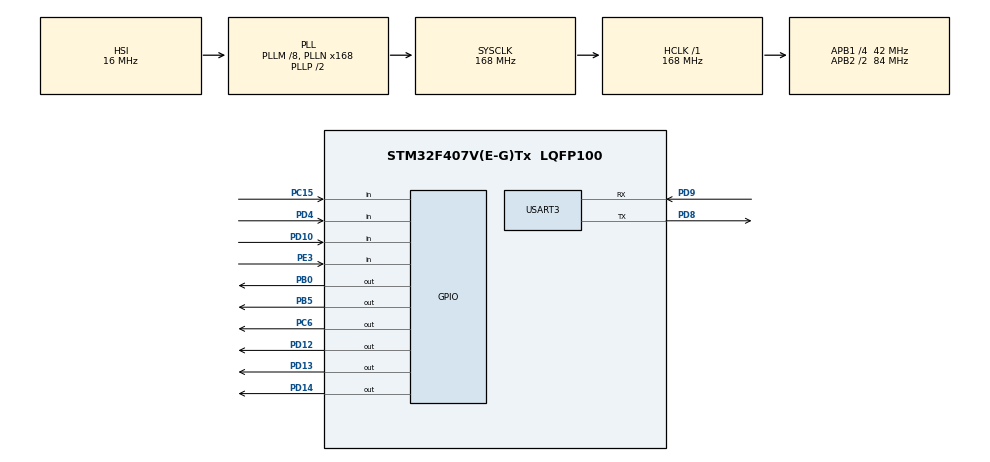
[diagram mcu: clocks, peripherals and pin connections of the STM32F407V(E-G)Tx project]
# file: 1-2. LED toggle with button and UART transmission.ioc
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Mcu.Family=STM32F4
Mcu.Name=STM32F407V(E-G)Tx
Mcu.Package=LQFP100
NVIC.PriorityGroup=NVIC_PRIORITYGROUP_4
NVIC.USART3_IRQn=true\:0\:0\:false\:true\:true\:1\:true\:true\:true
PB0.Signal=GPIO_Output
PB5.Signal=GPIO_Output
PC15-OSC32_OUT.Signal=GPIO_Input
PC6.Signal=GPIO_Output
PD10.Signal=GPIO_Input
PD12.Signal=GPIO_Output
PD13.Signal=GPIO_Output
PD14.Signal=GPIO_Output
PD4.Signal=GPIO_Input
PD8.Mode=Asynchronous
PD8.Signal=USART3_TX
PD9.Mode=Asynchronous
PD9.Signal=USART3_RX
PE3.Signal=GPIO_Input
PH0-OSC_IN.Mode=HSE-External-Oscillator
PH0-OSC_IN.Signal=RCC_OSC_IN
PH1-OSC_OUT.Mode=HSE-External-Oscillator
PH1-OSC_OUT.Signal=RCC_OSC_OUT
ProjectManager.HeapSize=0x200
ProjectManager.StackSize=0x400
ProjectManager.TargetToolchain=STM32CubeIDE
RCC.48MHZClocksFreq_Value=84000000
RCC.AHBFreq_Value=168000000
RCC.APB1CLKDivider=RCC_HCLK_DIV4
RCC.APB1Freq_Value=42000000
RCC.APB1TimFreq_Value=84000000
RCC.APB2CLKDivider=RCC_HCLK_DIV2
RCC.APB2Freq_Value=84000000
RCC.APB2TimFreq_Value=168000000
RCC.CortexFreq_Value=168000000
RCC.HCLKFreq_Value=168000000
RCC.HSE_VALUE=8000000
RCC.HSI_VALUE=16000000
RCC.LSE_VALUE=32768
RCC.PLLM=8
RCC.PLLN=168
RCC.SYSCLKFreq_VALUE=168000000
RCC.SYSCLKSource=RCC_SYSCLKSOURCE_PLLCLK
RCC.VCOOutputFreq_Value=336000000
USART3.VirtualMode=VM_ASYNC
board=custom

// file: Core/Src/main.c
/* USER CODE BEGIN Header */
/**
  ******************************************************************************
  * @file           : main.c
  * @brief          : Main program body
  ******************************************************************************
  * @attention
  *
  * Copyright (c) 2024 STMicroelectronics.
  * All rights reserved.
  *
  * This software is licensed under terms that can be found in the LICENSE file
  * in the root directory of this software component.
  * If no LICENSE file comes with this software, it is provided AS-IS.
  *
  ******************************************************************************
  */
/* USER CODE END Header */
#include "main.h"
#include "usart.h"
#include "gpio.h"

/* USER CODE BEGIN Includes */
#include "easyMacros.h"
/* USER CODE END Includes */

/* USER CODE BEGIN PD */
#define TRUE 1
#define FALSE 0
/* USER CODE END PD */

/* USER CODE BEGIN PV */
int SW1_pressed = FALSE;
int SW2_pressed = FALSE;
int SW3_pressed = FALSE;
int SW4_pressed = FALSE;
int select_left_LED = TRUE;
uint8_t uart3_rx_data = 0;
uint8_t uart3_rx_flag = 0;
/* USER CODE END PV */

void SystemClock_Config(void);
static void MX_NVIC_Init(void);

int main(void)
{

  /* MCU Configuration--------------------------------------------------------*/

  /* Reset of all peripherals, Initializes the Flash interface and the Systick. */
  HAL_Init();

  /* Configure the system clock */
  SystemClock_Config();

  /* Initialize all configured peripherals */
  MX_GPIO_Init();
  MX_USART3_UART_Init();

  /* Initialize interrupts */
  MX_NVIC_Init();
  /* USER CODE BEGIN 2 */
  HAL_UART_Receive_IT(&huart3, &uart3_rx_data, sizeof(uart3_rx_data));

  L_RED_LED_OFF();
  L_GREEN_LED_OFF();
  L_BLUE_LED_OFF();
  R_RED_LED_OFF();
  R_GREEN_LED_OFF();
  R_BLUE_LED_OFF();
  /* USER CODE END 2 */

  /* Infinite loop */
  while (1)
  {

    /* USER CODE BEGIN 3 */

    /*
     * BUTTON 방식
     * red, green, blue LED 전부 같은 방식으로 동작한다.
     */
	if(SW1_pressed != CHECK_SW1_PRESSING()) // Rising Edge, Falling Edge를 검출
	{
		SW1_pressed = !SW1_pressed; // 버튼의 현재 상태 검출
		if(SW1_pressed) // 버튼이 눌러져있는 것으로 Rising Edge만 검출
		{
			if(select_left_LED) L_RED_LED_TOGGLE(); // 왼쪽 LED가 선택되어 있으면 왼쪽 LED를 토글
			else R_RED_LED_TOGGLE(); // 반대의 경우 오른쪽 LED를 토글
		}
	}

	if(SW2_pressed != CHECK_SW2_PRESSING())
	{
		SW2_pressed = !SW2_pressed;
		if(SW2_pressed)
		{
			if(select_left_LED) L_GREEN_LED_TOGGLE();
			else R_GREEN_LED_TOGGLE();
		}
	}

	if(SW3_pressed != CHECK_SW3_PRESSING())
	{
		SW3_pressed = !SW3_pressed;
		if(SW3_pressed)
		{
			if(select_left_LED) L_BLUE_LED_TOGGLE();
			else R_BLUE_LED_TOGGLE();
		}
	}

	if(SW4_pressed != CHECK_SW4_PRESSING()) // Rising Edge, Falling Edge 검출
	{
		SW4_pressed = !SW4_pressed; // 버튼의 현재 상태 검출
		if(SW4_pressed) select_left_LED = !select_left_LED; // 버튼의 현재 상태로 Rising Edge만 검출. LED 선택 방태를 바꾼다.
	}

	/*
	 * UART Interrupt 방식
	 * red, green, blue LED 전부 같은 방식으로 동작한다.
	 */
	if(uart3_rx_flag) // UART3으로 데이터를 받아서 flag가 1이 되면
	{
		uart3_rx_flag = 0; // flag를 0으로 해준 후
		switch(uart3_rx_data) { // 받아온 데이터로 각각의 동작을 수행한다. 1~3은 red, green, blue LED toggle이고, 4는 LED 선택이다.
			case '1':
				if(select_left_LED) L_RED_LED_TOGGLE();
				else R_RED_LED_TOGGLE();
				break;
			case '2':
				if(select_left_LED) L_GREEN_LED_TOGGLE();
				else R_GREEN_LED_TOGGLE();
				break;
			case '3':
				if(select_left_LED) L_BLUE_LED_TOGGLE();
				else R_BLUE_LED_TOGGLE();
				break;
			case '4':
				select_left_LED = !select_left_LED;
		}
	}
  }
  /* USER CODE END 3 */
}

void SystemClock_Config(void)
{
  RCC_OscInitTypeDef RCC_OscInitStruct = {0};
  RCC_ClkInitTypeDef RCC_ClkInitStruct = {0};

  /** Configure the main internal regulator output voltage
  */
  __HAL_RCC_PWR_CLK_ENABLE();
  __HAL_PWR_VOLTAGESCALING_CONFIG(PWR_REGULATOR_VOLTAGE_SCALE1);

  /** Initializes the RCC Oscillators according to the specified parameters
  * in the RCC_OscInitTypeDef structure.
  */
  RCC_OscInitStruct.OscillatorType = RCC_OSCILLATORTYPE_HSI;
  RCC_OscInitStruct.HSIState = RCC_HSI_ON;
  RCC_OscInitStruct.HSICalibrationValue = RCC_HSICALIBRATION_DEFAULT;
  RCC_OscInitStruct.PLL.PLLState = RCC_PLL_ON;
  RCC_OscInitStruct.PLL.PLLSource = RCC_PLLSOURCE_HSI;
  RCC_OscInitStruct.PLL.PLLM = 8;
  RCC_OscInitStruct.PLL.PLLN = 168;
  RCC_OscInitStruct.PLL.PLLP = RCC_PLLP_DIV2;
  RCC_OscInitStruct.PLL.PLLQ = 4;
  if (HAL_RCC_OscConfig(&RCC_OscInitStruct) != HAL_OK)
  {
    Error_Handler();
  }

  /** Initializes the CPU, AHB and APB buses clocks
  */
  RCC_ClkInitStruct.ClockType = RCC_CLOCKTYPE_HCLK|RCC_CLOCKTYPE_SYSCLK
                              |RCC_CLOCKTYPE_PCLK1|RCC_CLOCKTYPE_PCLK2;
  RCC_ClkInitStruct.SYSCLKSource = RCC_SYSCLKSOURCE_PLLCLK;
  RCC_ClkInitStruct.AHBCLKDivider = RCC_SYSCLK_DIV1;
  RCC_ClkInitStruct.APB1CLKDivider = RCC_HCLK_DIV4;
  RCC_ClkInitStruct.APB2CLKDivider = RCC_HCLK_DIV2;

  if (HAL_RCC_ClockConfig(&RCC_ClkInitStruct, FLASH_LATENCY_5) != HAL_OK)
  {
    Error_Handler();
  }
}

/**
  * @brief NVIC Configuration.
  * @retval None
  */
static void MX_NVIC_Init(void)
{
  /* USART3_IRQn interrupt configuration */
  HAL_NVIC_SetPriority(USART3_IRQn, 0, 0);
  HAL_NVIC_EnableIRQ(USART3_IRQn);
}

/* USER CODE BEGIN 4 */
void HAL_UART_RxCpltCallback(UART_HandleTypeDef *huart)
{
	if(huart->Instance == USART3)
	{
		HAL_UART_Receive_IT(&huart3, &uart3_rx_data, sizeof(uart3_rx_data));
		uart3_rx_flag = 1;
	}
}
/* USER CODE END 4 */

void Error_Handler(void)
{
  __disable_irq();
  while (1)
  {
  }
}
